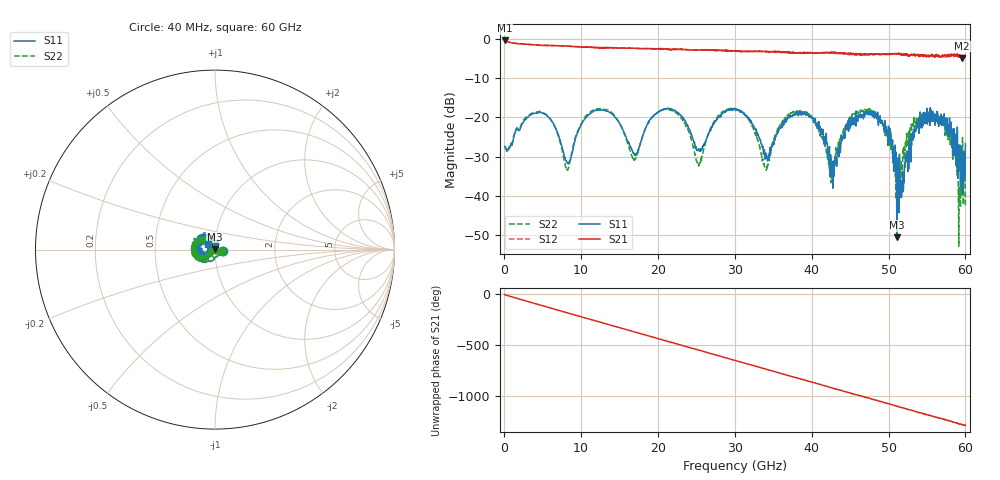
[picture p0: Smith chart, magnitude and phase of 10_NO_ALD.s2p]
! File created by 'SoftPlot +Plus+ Measurement Management Software'
! SoftPlot +Plus+ Measurement Management Software
! Start 40.000000 MHz  Stop 60.000000 GHz  Points 1601
# MHZ S RI R 50
! S-Parameter data, F S11 S21 S12 S22
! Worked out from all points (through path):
!   1601 points, 40 MHz to 60 GHz, reference 50 ohm
!   highest |S21| = -0.42 dB at 40 MHz (marker M1); lowest = -4.9 dB at 59.59 GHz (marker M2)
!   group delay of S21, straight-line fit = 59.6 ps
!   lowest |S11| = -50.5 dB at 51.08 GHz (marker M3), VSWR 1.01, Z = 49.9 + j0.292 ohm
!   |S11| at or under -10 dB: start of sweep to end of sweep
!   |S22| runs from -52.8 to -17.6 dB; largest |S21 - S12| = 0.058
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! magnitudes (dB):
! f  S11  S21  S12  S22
! 40 MHz  -27.3  -0.4  -0.4  -27.5
! 4.799 GHz  -18.8  -1.7  -1.6  -18.7
! 8.21 GHz  -31.6  -1.9  -1.9  -33.4
! 10.05 GHz  -21.8  -2.1  -2.1  -21.5
! 13.76 GHz  -18.8  -2.3  -2.3  -18.5
! 16.94 GHz  -29.4  -2.4  -2.4  -30.9
! 20.05 GHz  -18.7  -2.6  -2.5  -18.5
! 23.01 GHz  -19.6  -2.6  -2.7  -20.2
! 25.26 GHz  -28.0  -2.8  -2.9  -32.1
! 30.02 GHz  -17.8  -3.1  -3.0  -17.8
! 34.03 GHz  -29.1  -3.2  -3.3  -33.4
! 36.69 GHz  -20.5  -3.4  -3.4  -19.7
! 40.03 GHz  -20.2  -3.5  -3.6  -20.2
! 42.57 GHz  -31.5  -3.4  -3.4  -35.9
! 45.57 GHz  -21.9  -4.0  -3.9  -19.0
! 50.03 GHz  -24.2  -4.0  -3.9  -24.8
! 51.08 GHz  -50.5  -3.9  -3.7  -34.5
! 51.79 GHz  -38.7  -4.1  -4.0  -33.3
! 53.07 GHz  -25.1  -4.2  -4.2  -22.7
! 55.43 GHz  -17.5  -4.3  -4.3  -19.3
! 59.59 GHz  -38.8  -4.9  -4.2  -30.8
! 60 GHz  -26.6  -4.2  -4.5  -42.5
